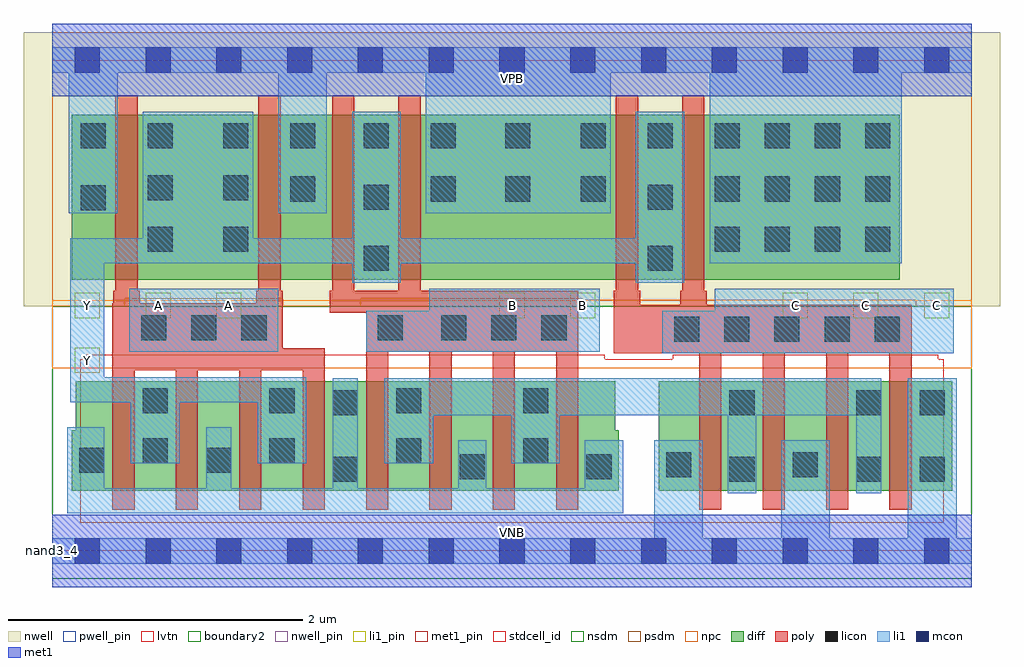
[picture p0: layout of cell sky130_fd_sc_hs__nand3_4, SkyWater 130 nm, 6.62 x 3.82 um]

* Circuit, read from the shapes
.subckt sky130_fd_sc_hs__nand3_4 A B C VGND VNB VPB VPWR Y
XM1 Y A n1 VNB sky130_fd_pr__nfet_01v8_lvt w=0.74 l=0.15 m=4
XM2 n2 B n1 VNB sky130_fd_pr__nfet_01v8_lvt w=0.74 l=0.15 m=4
XM3 n2 C VGND VNB sky130_fd_pr__nfet_01v8_lvt w=0.74 l=0.15 m=4
XM4 Y A VPWR VPB sky130_fd_pr__pfet_01v8 w=1.12 l=0.15 m=2
XM5 Y B VPWR VPB sky130_fd_pr__pfet_01v8 w=1.12 l=0.15 m=2
XM6 Y C VPWR VPB sky130_fd_pr__pfet_01v8 w=1.12 l=0.15 m=2
.ends

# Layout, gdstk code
import gdstk
lib = gdstk.Library(unit=1e-6, precision=1e-09)
def R(c, l, rs):  # rectangles x0, y0, x1, y1
    for r in rs: c.add(gdstk.rectangle(r[:2], r[2:], *l))
def A(c, l, x, y, w, h, nx, ny, dx, dy):  # array of equal rectangles
    R(c, l, [(x+i*dx, y+j*dy, x+i*dx+w, y+j*dy+h) for i in range(nx) for j in range(ny)])
def P(c, l, *ps):  # polygons
    for p in ps: c.add(gdstk.Polygon(p, *l))
nwell_pin = (64, 16)
nwell = (64, 20)
diff = (65, 20)
poly = (66, 20)
licon = (66, 44)
li1_pin = (67, 16)
li1 = (67, 20)
mcon = (67, 44)
met1_pin = (68, 16)
met1 = (68, 20)
stdcell_id = (81, 4)
nsdm = (93, 44)
psdm = (94, 20)
npc = (95, 20)
pwell_pin = (122, 16)
lvtn = (125, 44)
boundary2 = (236, 0)

sky130_fd_sc_hs__nand3_4 = lib.new_cell('sky130_fd_sc_hs__nand3_4')
R(sky130_fd_sc_hs__nand3_4, nwell_pin, [(0,3.085,6.24,3.33)])
R(sky130_fd_sc_hs__nand3_4, nwell, [(-0.19,1.66,6.43,3.52)])
R(sky130_fd_sc_hs__nand3_4, diff, [(4.115,0.41,6.105,1.15), (0.135,1.84,5.75,2.96)])
P(sky130_fd_sc_hs__nand3_4, diff, [(3.845,0.82),(3.82,0.82),(3.82,1.15),(0.16,1.15),(0.16,0.82),(0.135,0.82),(0.135,0.41),(3.845,0.41)])
P(sky130_fd_sc_hs__nand3_4, poly, [(3.57,1.765),(2.5,1.765),(2.5,3.09),(2.35,3.09),(2.35,1.765),(2.05,1.765),(2.05,3.09),(1.9,3.09),(1.9,1.765),(1.885,1.765),(1.885,1.615),(2.13,1.615),(2.13,0.28),(2.28,0.28),(2.28,1.35),(2.56,1.35),(2.56,0.28),(2.71,0.28),(2.71,1.35),(2.99,1.35),(2.99,0.28),(3.14,0.28),(3.14,1.35),(3.42,1.35),(3.42,0.28),(3.57,0.28)],
  [(5.83,1.67),(4.44,1.67),(4.44,1.765),(4.425,1.765),(4.425,3.09),(4.275,3.09),(4.275,1.765),(4.26,1.765),(4.26,1.67),(3.99,1.67),(3.99,1.765),(3.975,1.765),(3.975,3.09),(3.825,3.09),(3.825,1.765),(3.81,1.765),(3.81,1.34),(4.39,1.34),(4.39,0.28),(4.54,0.28),(4.54,1.34),(4.82,1.34),(4.82,0.28),(4.97,0.28),(4.97,1.34),(5.25,1.34),(5.25,0.28),(5.4,0.28),(5.4,1.34),(5.68,1.34),(5.68,0.28),(5.83,0.28)],
  [(1.85,1.375),(1.565,1.375),(1.565,1.765),(1.55,1.765),(1.55,3.09),(1.4,3.09),(1.4,1.765),(1.385,1.765),(1.385,1.68),(0.595,1.68),(0.595,1.765),(0.58,1.765),(0.58,3.09),(0.43,3.09),(0.43,1.765),(0.415,1.765),(0.415,1.68),(0.41,1.68),(0.41,0.28),(0.56,0.28),(0.56,1.225),(0.84,1.225),(0.84,0.28),(0.99,0.28),(0.99,1.225),(1.27,1.225),(1.27,0.28),(1.42,0.28),(1.42,1.225),(1.7,1.225),(1.7,0.28),(1.85,0.28)])
A(sky130_fd_sc_hs__nand3_4, licon, 0.615, 0.595, 0.17, 0.17, 4, 2, 0.86, 0.34)
A(sky130_fd_sc_hs__nand3_4, licon, 4.22, 1.42, 0.17, 0.17, 5, 1, 0.34, 0)
A(sky130_fd_sc_hs__nand3_4, licon, 0.605, 1.43, 0.17, 0.17, 3, 1, 0.34, 0)
A(sky130_fd_sc_hs__nand3_4, licon, 2.64, 1.43, 0.17, 0.17, 3, 1, 0.34, 0)
A(sky130_fd_sc_hs__nand3_4, licon, 2.115, 1.9, 0.17, 0.17, 1, 3, 0, 0.415)
A(sky130_fd_sc_hs__nand3_4, licon, 0.65, 2.03, 0.17, 0.17, 1, 3, 0, 0.35)
A(sky130_fd_sc_hs__nand3_4, licon, 1.16, 2.03, 0.17, 0.17, 1, 3, 0, 0.35)
A(sky130_fd_sc_hs__nand3_4, licon, 4.495, 2.03, 0.17, 0.17, 4, 2, 0.34, 0.34)
A(sky130_fd_sc_hs__nand3_4, licon, 3.585, 2.73, 0.17, 0.17, 3, 1, 0.455, 0)
A(sky130_fd_sc_hs__nand3_4, licon, 4.835, 2.73, 0.17, 0.17, 3, 1, 0.34, 0)
R(sky130_fd_sc_hs__nand3_4, licon, [(1.905,0.47,2.075,0.64), (4.595,0.47,4.765,0.64), (5.455,0.47,5.625,0.64), (5.885,0.47,6.055,0.64), (2.765,0.485,2.935,0.655), (3.625,0.485,3.795,0.655), (4.165,0.5,4.335,0.67), (5.025,0.5,5.195,0.67), (0.185,0.53,0.355,0.7), (1.045,0.53,1.215,0.7), (1.905,0.92,2.075,1.09), (4.595,0.92,4.765,1.09), (5.455,0.92,5.625,1.09), (5.885,0.92,6.055,1.09), (2.21,1.43,2.38,1.6), (4.04,1.9,4.21,2.07), (0.195,2.31,0.365,2.48), (4.04,2.315,4.21,2.485), (1.615,2.37,1.785,2.54), (2.57,2.37,2.74,2.54), (3.075,2.37,3.245,2.54), (3.585,2.37,3.755,2.54), (0.195,2.73,0.365,2.9), (1.615,2.73,1.785,2.9), (2.57,2.73,2.74,2.9), (3.075,2.73,3.245,2.9)])
A(sky130_fd_sc_hs__nand3_4, li1_pin, 0.155, 1.58, 0.17, 0.17, 3, 1, 0.48, 0)
A(sky130_fd_sc_hs__nand3_4, li1_pin, 4.955, 1.58, 0.17, 0.17, 3, 1, 0.48, 0)
R(sky130_fd_sc_hs__nand3_4, li1_pin, [(0.155,1.21,0.325,1.38), (3.035,1.58,3.205,1.75), (3.515,1.58,3.685,1.75)])
R(sky130_fd_sc_hs__nand3_4, li1, [(0.525,1.35,1.535,1.78)])
P(sky130_fd_sc_hs__nand3_4, li1, [(3.715,1.78),(2.56,1.78),(2.56,1.63),(2.13,1.63),(2.13,1.35),(3.715,1.35)],
  [(3.875,0.75),(3.615,0.75),(3.615,0.425),(2.945,0.425),(2.945,0.75),(2.755,0.75),(2.755,0.425),(2.075,0.425),(2.075,1.17),(1.905,1.17),(1.905,0.425),(1.215,0.425),(1.215,0.84),(1.045,0.84),(1.045,0.425),(0.355,0.425),(0.355,0.84),(0.105,0.84),(0.105,0.255),(3.875,0.255)],
  [(4.29,2.98),(3.96,2.98),(3.96,2.12),(2.365,2.12),(2.365,2.98),(2.035,2.98),(2.035,2.12),(1.365,2.12),(1.365,2.98),(0.615,2.98),(0.615,2.12),(0.125,2.12),(0.125,1.01),(0.535,1.01),(0.535,0.595),(0.865,0.595),(0.865,1.01),(1.395,1.01),(1.395,0.595),(1.725,0.595),(1.725,1.18),(0.355,1.18),(0.355,1.95),(2.035,1.95),(2.035,1.82),(2.365,1.82),(2.365,1.95),(3.96,1.95),(3.96,1.82),(4.29,1.82)],
  [(5.625,1.17),(2.255,1.17),(2.255,0.595),(2.585,0.595),(2.585,0.92),(3.115,0.92),(3.115,0.595),(3.445,0.595),(3.445,0.92),(4.585,0.92),(4.585,0.39),(4.775,0.39),(4.775,0.92),(5.455,0.92),(5.455,0.39),(5.625,0.39)],
  [(6.115,1.78),(4.495,1.78),(4.495,1.63),(4.14,1.63),(4.14,1.34),(6.115,1.34)],
  [(6.24,3.415),(0,3.415),(0,3.245),(0.115,3.245),(0.115,2.29),(0.445,2.29),(0.445,3.245),(1.535,3.245),(1.535,2.29),(1.865,2.29),(1.865,3.245),(2.535,3.245),(2.535,2.29),(3.79,2.29),(3.79,3.245),(4.46,3.245),(4.46,1.95),(5.765,1.95),(5.765,3.245),(6.24,3.245)],
  [(6.24,0.085),(6.135,0.085),(6.135,1.17),(5.805,1.17),(5.805,0.085),(5.275,0.085),(5.275,0.75),(4.945,0.75),(4.945,0.085),(4.415,0.085),(4.415,0.75),(4.085,0.75),(4.085,0.085),(0,0.085),(0,-0.085),(6.24,-0.085)])
A(sky130_fd_sc_hs__nand3_4, mcon, 0.155, -0.085, 0.17, 0.17, 13, 2, 0.48, 3.33)
R(sky130_fd_sc_hs__nand3_4, met1_pin, [(0,0,6.24,0.245), (0,3.085,6.24,3.33)])
R(sky130_fd_sc_hs__nand3_4, met1, [(0,-0.245,6.24,0.245), (0,3.085,6.24,3.575)])
R(sky130_fd_sc_hs__nand3_4, stdcell_id, [(0,0,6.24,3.33)])
R(sky130_fd_sc_hs__nand3_4, nsdm, [(0,-0.19,6.24,1.66)])
P(sky130_fd_sc_hs__nand3_4, psdm, [(6.24,3.52),(0,3.52),(0,1.66),(0.495,1.66),(0.495,1.71),(1.565,1.71),(1.565,1.66),(2.095,1.66),(2.095,1.71),(3.6,1.71),(3.6,1.7),(5.86,1.7),(5.86,1.66),(6.24,1.66)])
R(sky130_fd_sc_hs__nand3_4, npc, [(0,1.24,6.24,1.7)])
R(sky130_fd_sc_hs__nand3_4, pwell_pin, [(0,0,6.24,0.245)])
P(sky130_fd_sc_hs__nand3_4, lvtn, [(6.05,1.3),(6.01,1.3),(6.01,1.33),(4.21,1.33),(4.21,1.3),(3.75,1.3),(3.75,1.33),(0.23,1.33),(0.23,1.3),(0.19,1.3),(0.19,0.19),(6.05,0.19)])
R(sky130_fd_sc_hs__nand3_4, boundary2, [(0,0,6.24,3.33)])
sky130_fd_sc_hs__nand3_4.add(gdstk.Label('nand3_4', (0,0), layer=83, texttype=44))
sky130_fd_sc_hs__nand3_4.add(gdstk.Label('VNB', (3.12,0.123), layer=64, texttype=59))
sky130_fd_sc_hs__nand3_4.add(gdstk.Label('VPB', (3.12,3.208), layer=64, texttype=5))
sky130_fd_sc_hs__nand3_4.add(gdstk.Label('VPWR', (3.12,3.208), layer=68, texttype=5))
sky130_fd_sc_hs__nand3_4.add(gdstk.Label('VGND', (3.12,0.123), layer=68, texttype=5))
sky130_fd_sc_hs__nand3_4.add(gdstk.Label('C', (5.04,1.665), layer=67, texttype=5))
sky130_fd_sc_hs__nand3_4.add(gdstk.Label('C', (5.52,1.665), layer=67, texttype=5))
sky130_fd_sc_hs__nand3_4.add(gdstk.Label('C', (6,1.665), layer=67, texttype=5))
sky130_fd_sc_hs__nand3_4.add(gdstk.Label('B', (3.12,1.665), layer=67, texttype=5))
sky130_fd_sc_hs__nand3_4.add(gdstk.Label('B', (3.6,1.665), layer=67, texttype=5))
sky130_fd_sc_hs__nand3_4.add(gdstk.Label('A', (0.72,1.665), layer=67, texttype=5))
sky130_fd_sc_hs__nand3_4.add(gdstk.Label('A', (1.2,1.665), layer=67, texttype=5))
sky130_fd_sc_hs__nand3_4.add(gdstk.Label('Y', (0.24,1.295), layer=67, texttype=5))
sky130_fd_sc_hs__nand3_4.add(gdstk.Label('Y', (0.24,1.665), layer=67, texttype=5))

lib.write_gds('sky130_fd_sc_hs__nand3_4.gds')
